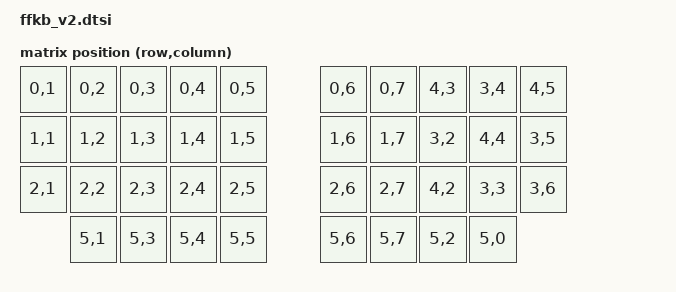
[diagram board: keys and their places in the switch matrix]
#include <dt-bindings/zmk/input_transform.h>
#include <input/processors.dtsi>

/ {
    five_col_transform: keymap_transform_1 {
        compatible = "zmk,matrix-transform";
        columns = <8>;
        rows = <6>;

        map = <
             RC(0,1) RC(0,2) RC(0,3) RC(0,4) RC(0,5)         RC(0,6) RC(0,7) RC(4,3) RC(3,4) RC(4,5)
             RC(1,1) RC(1,2) RC(1,3) RC(1,4) RC(1,5)         RC(1,6) RC(1,7) RC(3,2) RC(4,4) RC(3,5)
             RC(2,1) RC(2,2) RC(2,3) RC(2,4) RC(2,5)         RC(2,6) RC(2,7) RC(4,2) RC(3,3) RC(3,6)
                     RC(5,1) RC(5,3) RC(5,4) RC(5,5)         RC(5,6) RC(5,7) RC(5,2) RC(5,0)
        >;
    };
};

&pro_micro_i2c {
    status = "okay";
    glidepoint: glidepoint@0 {
        compatible = "cirque,pinnacle";
        reg = <0x2a>;
        status = "okay";
        dr-gpios = <&gpio0 6 (GPIO_ACTIVE_HIGH)>;

        sensitivity = "4x";
        sleep;
        no-taps;
    };
};

/ {
    glidepoint_listener {
        compatible = "zmk,input-listener";
        device = <&glidepoint>;
        input-processors = <&zip_xy_transform (INPUT_TRANSFORM_X_INVERT)>;
    };
};
